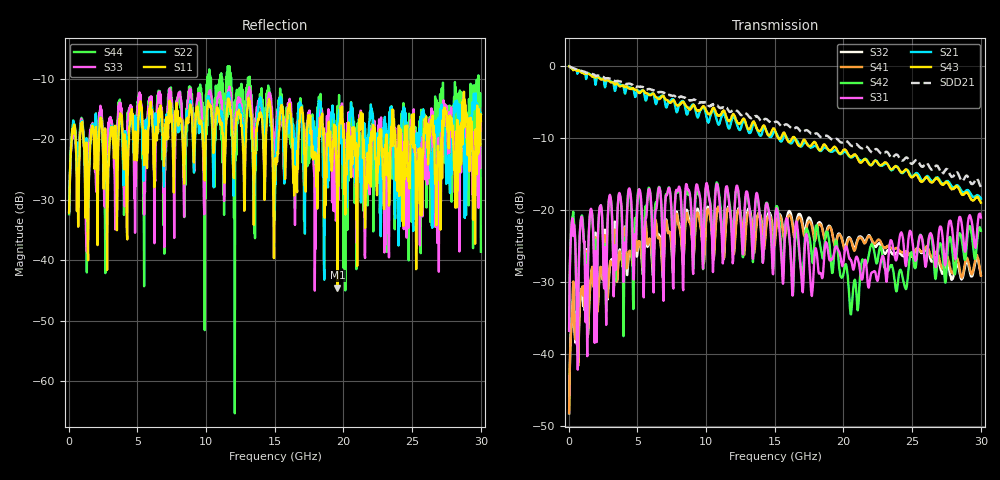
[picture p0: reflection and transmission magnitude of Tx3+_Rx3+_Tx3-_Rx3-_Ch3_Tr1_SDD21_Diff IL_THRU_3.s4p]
! MS46524B
! 2314202/M1: 22492055/M2: 21112458
! 12/30/2025 3:20:35 PM
! C:\ANRITSUVNA\TEMP\3.S4P
! CHANNEL.3
! TR.MEASUREMENT
! CORRECTED.DATA
# GHZ S RI R 50.0
! FREQ.GHZ  S11RE  S11IM  S12RE  S12IM  S13RE  S13IM  S14RE  S14IM
!  S21RE  S21IM  S22RE  S22IM  S23RE  S23IM  S24RE  S24IM
!  S31RE  S31IM  S32RE  S32IM  S33RE  S33IM  S34RE  S34IM
!  S41RE  S41IM  S42RE  S42IM  S43RE  S43IM  S44RE  S44IM
!; PortSelection: Port_1234
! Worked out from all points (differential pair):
!   1000 points, 30 MHz to 30 GHz, reference 50 ohm
!   strongest paths, dB at 30 MHz, 7.53 GHz, 15.03 GHz, 22.53 GHz, 30 GHz:
!     S43: -0.1, -4.9, -9.1, -13.6, -19.0
!     S21: -0.1, -4.7, -9.2, -13.5, -18.4
!     S31: -36.7, -23.3, -21.1, -29.5, -21.1
!     S42: -36.5, -22.8, -20.8, -26.4, -22.9
!     S41: -48.1, -26.2, -24.2, -24.1, -29.1
!     S32: -48.2, -26.9, -23.6, -24.7, -29.0
!   taken as a pair (ports 3,1 in; 4,2 out), SDD21 dB: -0.1, -4.2, -7.8, -11.8, -16.9
!   lowest |S11| = -44.5 dB at 19.56 GHz (marker M1), VSWR 1.01, Z = 50 + j0.592 ohm
!   |S11| at or under -10 dB: start of sweep to end of sweep
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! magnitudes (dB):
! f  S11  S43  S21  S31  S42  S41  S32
! 30 MHz  -32.1  -0.1  -0.1  -36.7  -36.5  -48.1  -48.2
! 3.3 GHz  -23.2  -2.5  -2.8  -30.5  -30.5  -23.8  -23.2
! 13.14 GHz  -13.6  -8.8  -9.3  -19.4  -19.6  -20.2  -19.9
! 19.56 GHz  -44.5  -11.8  -11.9  -25.4  -25.3  -23.8  -23.6
! 20.16 GHz  -26.1  -11.7  -12.0  -25.1  -27.5  -25.5  -24.9
! 29.61 GHz  -18.4  -18.3  -18.1  -25.3  -26.6  -26.8  -27.2
! 30 GHz  -17.0  -19.0  -18.4  -21.1  -22.9  -29.1  -29.0
